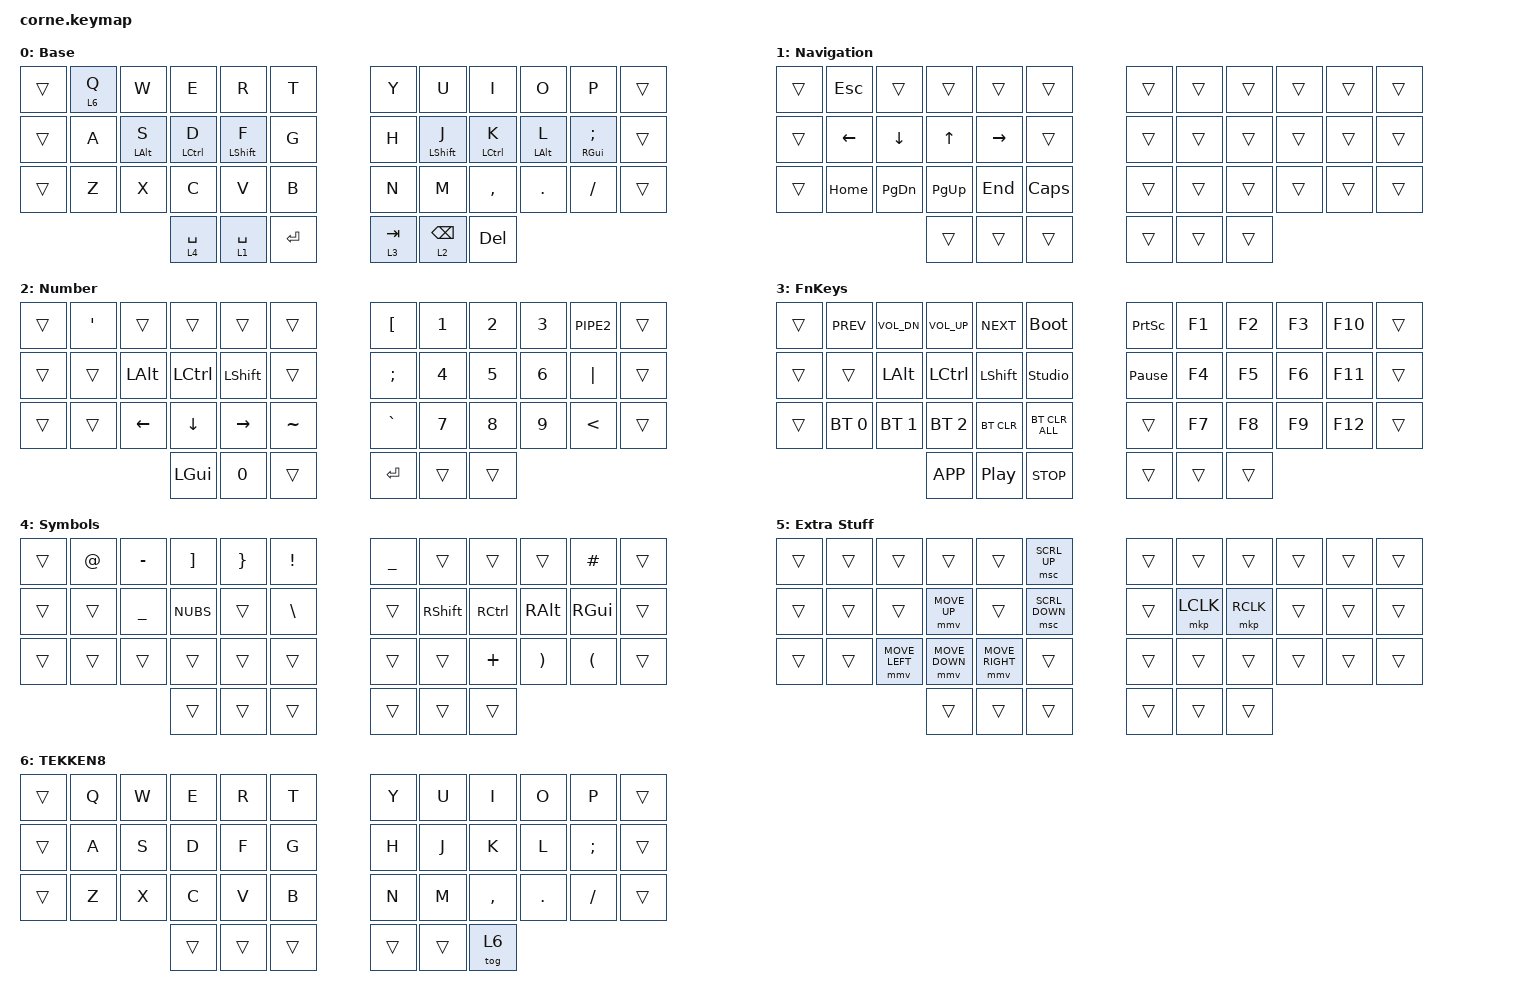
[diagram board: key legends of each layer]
#include <behaviors.dtsi>
#include <dt-bindings/zmk/bt.h>
#include <dt-bindings/zmk/keys.h>
#include <dt-bindings/zmk/pointing.h>

#define DEF 0
#define NAV 1
#define NUM 2
#define FUN 3
#define SYM 4
#define EXTRA 5
#define TEKKEN8 6

/ {
    behaviors {
         hsw: hold_to_switch {
            compatible = "zmk,behavior-hold-tap";
            #binding-cells = <2>;
            flavor = "tap-preferred";
            tapping-term-ms = <200>;
            quick-tap-ms = <200>;
            bindings = <&tog>, <&kp>;
        };

        hm: homerow_mods {
            compatible = "zmk,behavior-hold-tap";
            #binding-cells = <2>;
            tapping-term-ms = <200>;
            flavor = "tap-preferred";
            bindings = <&kp>, <&kp>;

            quick-tap-ms = <200>;
            require-prior-idle-ms = <100>; /* tune to taste */
        };

        para: para {
            compatible = "zmk,behavior-tap-dance";
            #binding-cells = <0>;
            bindings = <&kp LEFT_PARENTHESIS>, <&kp RIGHT_PARENTHESIS>;
        };

        caps: caps {
            compatible = "zmk,behavior-caps-word";
            #binding-cells = <0>;
            continue-list = <MINUS BACKSPACE>;
        };

        paraless: paraless {
            compatible = "zmk,behavior-mod-morph";
            bindings = <&kp LEFT_PARENTHESIS>, <&kp LESS_THAN>;

            #binding-cells = <0>;
            mods = <(MOD_LSFT)>;
        };

        paragreat: paragreat {
            compatible = "zmk,behavior-mod-morph";
            bindings = <&kp RIGHT_PARENTHESIS>, <&kp GREATER_THAN>;

            #binding-cells = <0>;
            mods = <(MOD_LSFT)>;
        };
    };

    keymap {
        compatible = "zmk,keymap";

        DEF {
            display-name = "Base";

            // -----------------------------------------------------------------------------------------
            // |  Q  |  W  |  E  |  R  |  T  |   |  Y  |  U   |  I  |  O  |  P  |
            // |  A  |  S  |  D  |  F  |  G  |   |  H  |  J   |  K  |  L  |  ;  |
            // |  Z  |  X  |  C  |  V  |  B  |   |  N  |  M   |  ,  |  .  |  /  |
            // | GUI | CTRL | SHFT | LWR | SPC |   | ENT | RSE  | BKSP | ALT | ESC |

            bindings = <
&trans   &hsw 6 Q  &kp W       &kp E            &kp R          &kp T        &kp Y      &kp U        &kp I           &kp O       &kp P          &trans
&trans   &kp A     &hm LALT S  &hm LCTRL D      &hm LSHFT F    &kp G        &kp H      &hm LSHFT J  &hm LCTRL K     &hm LALT L  &hm RGUI SEMI  &trans
&trans   &kp Z     &kp X       &kp C            &kp V          &kp B        &kp N      &kp M        &kp COMMA       &kp DOT     &kp SLASH      &trans
                           &lt 4 SPACE      &lt 1 SPACE    &kp RET      &lt 3 TAB  &lt 2 BSPC   &kp DEL
            >;
        };

        NAV {
            display-name = "Navigation";

            // -----------------------------------------------------------------------------------------
            // |  TAB |  1  |  2  |  3  |  4  |  5  |   |  6  |  7  |  8  |  9  |  0  | BKSP |
            // | BTCLR| BT1 | BT2 | BT3 | BT4 | BT5 |   | LFT | DWN |  UP | RGT |     |      |
            // | SHFT |     |     |     |     |     |   |     |     |     |     |     |      |
            // | GUI | CTRL | SHFT | LWR | SPC |   | ENT | RSE  | BKSP | ALT | ESC |

            bindings = <
&trans  &kp ESC     &trans       &trans      &trans     &trans                     &trans   &trans   &trans   &trans   &trans   &trans
&trans  &kp LEFT    &kp DOWN     &kp UP      &kp RIGHT  &trans                     &trans   &trans   &trans   &trans   &trans   &trans
&trans  &kp HOME    &kp PG_DN    &kp PG_UP   &kp END    &kp CAPS                   &trans   &trans   &trans   &trans   &trans   &trans
                                 &trans      &trans     &trans                     &trans   &trans   &trans
            >;
        };

        NUM {
            display-name = "Number";

            // -----------------------------------------------------------------------------------------
            // |  TAB |  !  |  @  |  #  |  $  |  %  |   |  ^  |  &  |  *  |  (  |  )  | BKSP |
            // | CTRL |     |     |     |     |     |   |  -  |  =  |  [  |  ]  |  \  |  `   |
            // | SHFT |     |     |     |     |     |   |  _  |  +  |  {  |  }  | "|" |  ~   |
            //                    | GUI |     | SPC |   | ENT |     | ALT |

            bindings = <
&trans   &kp SQT    &trans              &trans              &trans              &trans              &kp LBKT      &kp N1      &kp N2      &kp N3      &kp PIPE2       &trans
&trans   &trans     &kp LALT            &kp LCTRL           &kp LSHFT           &trans              &kp SEMI      &kp N4      &kp N5      &kp N6      &kp PIPE        &trans
&trans   &trans     &kp LEFT_ARROW      &kp DOWN_ARROW      &kp RIGHT_ARROW     &kp TILDE           &kp GRAVE     &kp N7      &kp N8      &kp N9      &kp LT          &trans
                                        &kp LGUI             &kp N0               &trans              &kp RET       &trans      &trans
            >;
        };

        FUN {
            display-name = "FnKeys";
            bindings = <
&trans      &kp C_PREV      &kp C_VOL_DN    &kp C_VOL_UP    &kp C_NEXT    &bootloader                    &kp PSCRN           &kp F1      &kp F2      &kp F3      &kp F10     &trans
&trans      &trans          &kp LALT        &kp LCTRL       &kp LSHFT     &studio_unlock                 &kp PAUSE_BREAK     &kp F4      &kp F5      &kp F6      &kp F11     &trans
&trans      &bt BT_SEL 0    &bt BT_SEL 1    &bt BT_SEL 2    &bt BT_CLR    &bt BT_CLR_ALL                 &trans              &kp F7      &kp F8      &kp F9      &kp F12     &trans
                                            &kp K_APP       &kp C_PP      &kp C_STOP                     &trans              &trans      &trans
            >;
        };
        SYM {
                display-name = "Symbols";
            bindings = <
&trans    &kp AT    &kp MINUS    &kp RBKT    &kp RBRC    &kp EXCL           &kp UNDER    &trans       &trans         &trans      &kp HASH     &trans
&trans    &trans    &kp UNDER    &kp NUBS    &trans      &kp BSLH           &trans       &kp RSHFT    &kp RCTRL      &kp RALT    &kp RGUI     &trans
&trans    &trans    &trans       &trans      &trans      &trans             &trans       &trans       &kp PLUS       &kp RPAR    &kp LPAR     &trans
                                 &trans      &trans      &trans             &trans       &trans       &trans
            >;
        };

         EXTRA {
                display-name = "Extra Stuff";
            bindings = <
&trans  &trans       &trans         &trans          &trans      &msc SCRL_UP    &trans  &trans  &trans  &trans  &trans      &trans
&trans  &trans       &trans        &mmv MOVE_UP      &trans   &msc SCRL_DOWN            &trans  &mkp LCLK  &mkp RCLK  &trans  &trans       &trans
&trans  &trans       &mmv MOVE_LEFT   &mmv MOVE_DOWN  &mmv MOVE_RIGHT  &trans    &trans  &trans  &trans  &trans  &trans  &trans
                                     &trans        &trans      &trans            &trans  &trans  &trans
            >;
        };

        TEKKEN8 {
                display-name = "TEKKEN8";
            bindings = <
&trans  &kp Q  &kp W  &kp E    &kp R    &kp T        &kp Y      &kp U  &kp I        &kp O       &kp P          &trans
&trans  &kp A  &kp S  &kp  D   &kp F    &kp G        &kp H      &kp J  &kp K        &kp L       &kp SEMI       &trans
&trans  &kp Z  &kp X  &kp C    &kp V    &kp B        &kp N      &kp M  &kp COMMA    &kp DOT     &kp SLASH      &trans
                     &trans         &trans          &trans       &trans    &trans  &tog 6
            >;
        };
    };

};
